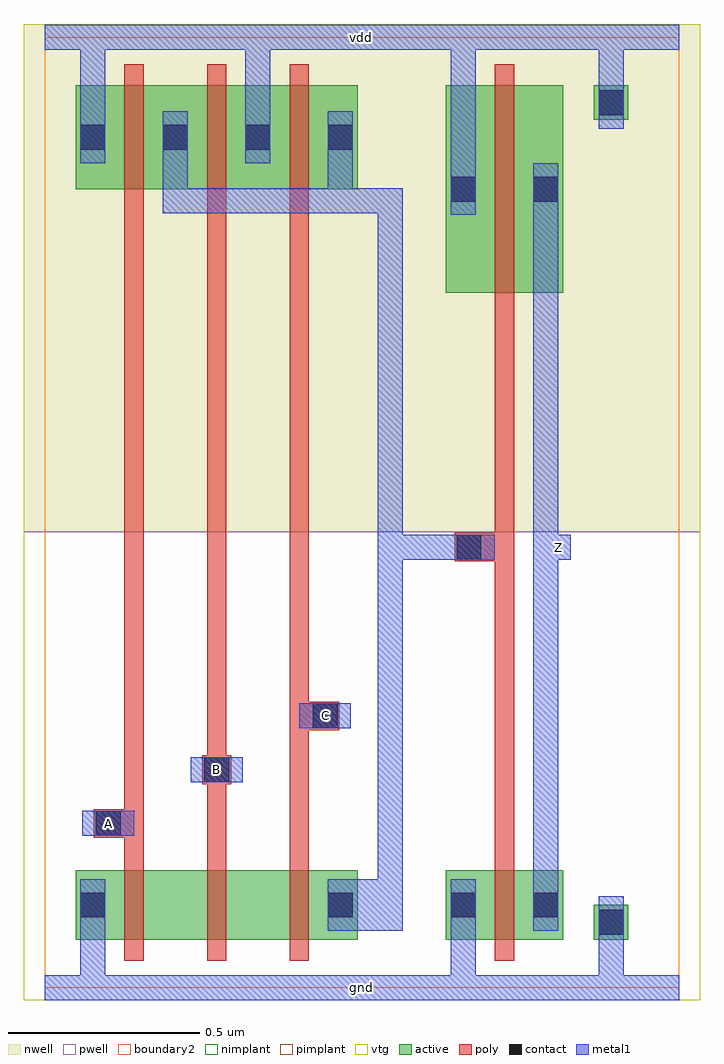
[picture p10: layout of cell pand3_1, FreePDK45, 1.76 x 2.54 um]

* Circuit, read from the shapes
.subckt pand3_1 A B C Z gnd vdd
M1 pnand3_0_0/nmos_m1_w0_180_sm1_dactive_3/D A gnd gnd nfet w=0.18u l=0.05u
M2 pnand3_0_0/nmos_m1_w0_180_sactive_dactive_4/D B pnand3_0_0/nmos_m1_w0_180_sm1_dactive_3/D gnd nfet w=0.18u l=0.05u
M3 pdriver_4_1/A C pnand3_0_0/nmos_m1_w0_180_sactive_dactive_4/D gnd nfet w=0.18u l=0.05u
M4 Z pdriver_4_1/A gnd gnd nfet w=0.18u l=0.05u
M5 pdriver_4_1/A A vdd vdd pfet w=0.27u l=0.05u
M6 vdd B pdriver_4_1/A vdd pfet w=0.27u l=0.05u
M7 pdriver_4_1/A C vdd vdd pfet w=0.27u l=0.05u
M8 Z pdriver_4_1/A vdd vdd pfet w=0.54u l=0.05u
.ends

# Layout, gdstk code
import gdstk
lib = gdstk.Library(unit=1e-6, precision=5e-10)
def R(c, l, rs):  # rectangles x0, y0, x1, y1
    for r in rs: c.add(gdstk.rectangle(r[:2], r[2:], *l))
def A(c, l, x, y, w, h, nx, ny, dx, dy):  # array of equal rectangles
    R(c, l, [(x+i*dx, y+j*dy, x+i*dx+w, y+j*dy+h) for i in range(nx) for j in range(ny)])
active = (1, 0)
pwell = (2, 0)
nwell = (3, 0)
nimplant = (4, 0)
pimplant = (5, 0)
vtg = (6, 0)
poly = (9, 0)
contact = (10, 0)
metal1 = (11, 0)
boundary2 = (239, 0)

contact_9 = lib.new_cell('contact_9')
R(contact_9, active, [(0,0.0225,0.09,0.1125)])
R(contact_9, nwell, [(-0.055,-0.0325,0.145,0.1675)])
R(contact_9, pimplant, [(0,0.0225,0.09,0.1125)])
R(contact_9, contact, [(0.0125,0.035,0.0775,0.1)])
R(contact_9, metal1, [(0.0125,0,0.0775,0.135)])
R(contact_9, boundary2, [(-0.055,-0.0325,0.145,0.1675)])

pmos_m1_w0_270_sm1_dm1 = lib.new_cell('pmos_m1_w0_270_sm1_dm1')
R(pmos_m1_w0_270_sm1_dm1, active, [(0,0,0.305,0.27)])
R(pmos_m1_w0_270_sm1_dm1, nwell, [(-0.08,-0.08,0.385,0.35)])
R(pmos_m1_w0_270_sm1_dm1, pimplant, [(0,0,0.305,0.27)])
R(pmos_m1_w0_270_sm1_dm1, vtg, [(-0.08,-0.08,0.385,0.35)])
R(pmos_m1_w0_270_sm1_dm1, poly, [(0.1275,-0.055,0.1775,0.325), (0.1275,-0.055,0.1775,0.325)])
R(pmos_m1_w0_270_sm1_dm1, metal1, [(0.0125,0.0675,0.0775,0.2025), (0.2275,0.0675,0.2925,0.2025)])
R(pmos_m1_w0_270_sm1_dm1, boundary2, [(-0.08,-0.08,0.385,0.35)])
pmos_m1_w0_270_sm1_dm1.add(gdstk.Reference(contact_9, (0,0.0675)))
pmos_m1_w0_270_sm1_dm1.add(gdstk.Reference(contact_9, (0.215,0.0675)))
pmos_m1_w0_270_sm1_dm1.add(gdstk.Label('G', (0.1525,0.135), layer=9, texttype=0))
pmos_m1_w0_270_sm1_dm1.add(gdstk.Label('S', (0.045,0.135), layer=11, texttype=0))
pmos_m1_w0_270_sm1_dm1.add(gdstk.Label('D', (0.26,0.135), layer=11, texttype=0))

contact_14 = lib.new_cell('contact_14')
R(contact_14, active, [(0,0.0225,0.09,0.1125)])
R(contact_14, pwell, [(-0.055,-0.0325,0.145,0.1675)])
R(contact_14, nimplant, [(0,0.0225,0.09,0.1125)])
R(contact_14, contact, [(0.0125,0.035,0.0775,0.1)])
R(contact_14, metal1, [(0.0125,0,0.0775,0.135)])
R(contact_14, boundary2, [(-0.055,-0.0325,0.145,0.1675)])

nmos_m1_w0_180_sm1_dacti = lib.new_cell('nmos_m1_w0_180_sm1_dactive')
R(nmos_m1_w0_180_sm1_dacti, active, [(0,0,0.305,0.18), (0.215,0.045,0.305,0.135)])
R(nmos_m1_w0_180_sm1_dacti, pwell, [(-0.08,-0.08,0.385,0.26)])
R(nmos_m1_w0_180_sm1_dacti, nimplant, [(0,0,0.305,0.18)])
R(nmos_m1_w0_180_sm1_dacti, vtg, [(-0.08,-0.08,0.385,0.26)])
R(nmos_m1_w0_180_sm1_dacti, poly, [(0.1275,-0.055,0.1775,0.235), (0.1275,-0.055,0.1775,0.235)])
R(nmos_m1_w0_180_sm1_dacti, metal1, [(0.0125,0.0225,0.0775,0.1575)])
R(nmos_m1_w0_180_sm1_dacti, boundary2, [(-0.08,-0.08,0.385,0.26)])
nmos_m1_w0_180_sm1_dacti.add(gdstk.Reference(contact_14, (0,0.0225)))
nmos_m1_w0_180_sm1_dacti.add(gdstk.Label('G', (0.1525,0.09), layer=9, texttype=0))
nmos_m1_w0_180_sm1_dacti.add(gdstk.Label('S', (0.045,0.09), layer=11, texttype=0))
nmos_m1_w0_180_sm1_dacti.add(gdstk.Label('D', (0.26,0.09), layer=1, texttype=0))

nmos_m1_w0_180_sactive_d = lib.new_cell('nmos_m1_w0_180_sactive_dactive')
R(nmos_m1_w0_180_sactive_d, active, [(0,0,0.305,0.18), (0,0.045,0.09,0.135), (0.215,0.045,0.305,0.135)])
R(nmos_m1_w0_180_sactive_d, pwell, [(-0.08,-0.08,0.385,0.26)])
R(nmos_m1_w0_180_sactive_d, nimplant, [(0,0,0.305,0.18)])
R(nmos_m1_w0_180_sactive_d, vtg, [(-0.08,-0.08,0.385,0.26)])
R(nmos_m1_w0_180_sactive_d, poly, [(0.1275,-0.055,0.1775,0.235), (0.1275,-0.055,0.1775,0.235)])
R(nmos_m1_w0_180_sactive_d, boundary2, [(-0.08,-0.08,0.385,0.26)])
nmos_m1_w0_180_sactive_d.add(gdstk.Label('G', (0.1525,0.09), layer=9, texttype=0))
nmos_m1_w0_180_sactive_d.add(gdstk.Label('S', (0.045,0.09), layer=1, texttype=0))
nmos_m1_w0_180_sactive_d.add(gdstk.Label('D', (0.26,0.09), layer=1, texttype=0))

c_nmos_m1_w0_180_sactive_d = lib.new_cell('nmos_m1_w0_180_sactive_dm1')
R(c_nmos_m1_w0_180_sactive_d, active, [(0,0,0.305,0.18), (0,0.045,0.09,0.135)])
R(c_nmos_m1_w0_180_sactive_d, pwell, [(-0.08,-0.08,0.385,0.26)])
R(c_nmos_m1_w0_180_sactive_d, nimplant, [(0,0,0.305,0.18)])
R(c_nmos_m1_w0_180_sactive_d, vtg, [(-0.08,-0.08,0.385,0.26)])
R(c_nmos_m1_w0_180_sactive_d, poly, [(0.1275,-0.055,0.1775,0.235), (0.1275,-0.055,0.1775,0.235)])
R(c_nmos_m1_w0_180_sactive_d, metal1, [(0.2275,0.0225,0.2925,0.1575)])
R(c_nmos_m1_w0_180_sactive_d, boundary2, [(-0.08,-0.08,0.385,0.26)])
c_nmos_m1_w0_180_sactive_d.add(gdstk.Reference(contact_14, (0.215,0.0225)))
c_nmos_m1_w0_180_sactive_d.add(gdstk.Label('G', (0.1525,0.09), layer=9, texttype=0))
c_nmos_m1_w0_180_sactive_d.add(gdstk.Label('S', (0.045,0.09), layer=1, texttype=0))
c_nmos_m1_w0_180_sactive_d.add(gdstk.Label('D', (0.26,0.09), layer=11, texttype=0))

contact_10 = lib.new_cell('contact_10')
R(contact_10, poly, [(0.03,0,0.105,0.075)])
R(contact_10, contact, [(0.035,0.005,0.1,0.07)])
R(contact_10, metal1, [(0,0.005,0.135,0.07)])
R(contact_10, boundary2, [(0,0,0.135,0.075)])

pnand3_0 = lib.new_cell('pnand3_0')
R(pnand3_0, pwell, [(-0.055,-0.0325,1.02,1.1875)])
R(pnand3_0, nwell, [(-0.055,1.1875,1.02,2.51)])
R(pnand3_0, vtg, [(-0.055,-0.0325,1.02,1.1875), (-0.055,1.1875,1.02,2.51)])
A(pnand3_0, poly, 0.2075, 0.36, 0.05, 1.665, 3, 1, 0.215, 0)
R(pnand3_0, poly, [(0.165,0.39,0.2075,0.465), (0.4225,0.53,0.4475,0.605), (0.6375,0.67,0.73,0.745)])
R(pnand3_0, metal1, [(0,-0.0325,0.965,0.0325), (0.0925,-0.0325,0.1575,0.1475), (0.77,0.1475,0.9,0.2825), (0.8675,0.1475,0.9325,2.05), (0.0975,0.395,0.2325,0.46), (0.38,0.535,0.515,0.6), (0.6625,0.675,0.7975,0.74), (0.3075,2.0175,0.3725,2.0825), (0.34,2.0175,0.9,2.0825), (0.7375,2.0175,0.8025,2.0825), (0.77,2.0175,0.9,2.0825), (0.8675,2.0175,0.9325,2.0825), (0.3075,2.05,0.3725,2.215), (0.7375,2.05,0.8025,2.215), (0.0925,2.1475,0.1575,2.5075), (0.5225,2.1475,0.5875,2.5075), (0,2.4425,0.965,2.5075)])
R(pnand3_0, boundary2, [(0,0,0.965,2.475), (0,0,0.965,2.475)])
pnand3_0.add(gdstk.Reference(pmos_m1_w0_270_sm1_dm1, (0.08,2.08)))
pnand3_0.add(gdstk.Reference(pmos_m1_w0_270_sm1_dm1, (0.295,2.08)))
pnand3_0.add(gdstk.Reference(pmos_m1_w0_270_sm1_dm1, (0.51,2.08)))
pnand3_0.add(gdstk.Reference(nmos_m1_w0_180_sm1_dacti, (0.08,0.125)))
pnand3_0.add(gdstk.Reference(nmos_m1_w0_180_sactive_d, (0.295,0.125)))
pnand3_0.add(gdstk.Reference(c_nmos_m1_w0_180_sactive_d, (0.51,0.125)))
pnand3_0.add(gdstk.Reference(contact_10, (0.0975,0.39)))
pnand3_0.add(gdstk.Reference(contact_10, (0.38,0.53)))
pnand3_0.add(gdstk.Reference(contact_10, (0.6625,0.67)))
pnand3_0.add(gdstk.Label('A', (0.165,0.4275), layer=11, texttype=0))
pnand3_0.add(gdstk.Label('B', (0.4475,0.5675), layer=11, texttype=0))
pnand3_0.add(gdstk.Label('C', (0.73,0.7075), layer=11, texttype=0))
pnand3_0.add(gdstk.Label('Z', (0.9,2.05), layer=11, texttype=0))
pnand3_0.add(gdstk.Label('gnd', (0.4825,0), layer=11, texttype=0))
pnand3_0.add(gdstk.Label('vdd', (0.4825,2.475), layer=11, texttype=0))

pmos_m1_w0_540_sm1_dm1_d = lib.new_cell('pmos_m1_w0_540_sm1_dm1_da_p')
R(pmos_m1_w0_540_sm1_dm1_d, active, [(0,0,0.305,0.54)])
R(pmos_m1_w0_540_sm1_dm1_d, nwell, [(-0.08,-0.08,0.385,0.62)])
R(pmos_m1_w0_540_sm1_dm1_d, pimplant, [(0,0,0.305,0.54)])
R(pmos_m1_w0_540_sm1_dm1_d, vtg, [(-0.08,-0.08,0.385,0.62)])
R(pmos_m1_w0_540_sm1_dm1_d, poly, [(0.1275,-0.055,0.1775,0.595), (0.1275,-0.055,0.1775,0.595)])
R(pmos_m1_w0_540_sm1_dm1_d, metal1, [(0.0125,0.2025,0.0775,0.3375), (0.2275,0.2025,0.2925,0.3375)])
R(pmos_m1_w0_540_sm1_dm1_d, boundary2, [(-0.08,-0.08,0.385,0.62)])
pmos_m1_w0_540_sm1_dm1_d.add(gdstk.Reference(contact_9, (0,0.2025)))
pmos_m1_w0_540_sm1_dm1_d.add(gdstk.Reference(contact_9, (0.215,0.2025)))
pmos_m1_w0_540_sm1_dm1_d.add(gdstk.Label('G', (0.1525,0.27), layer=9, texttype=0))
pmos_m1_w0_540_sm1_dm1_d.add(gdstk.Label('S', (0.045,0.27), layer=11, texttype=0))
pmos_m1_w0_540_sm1_dm1_d.add(gdstk.Label('D', (0.26,0.27), layer=11, texttype=0))

nmos_m1_w0_180_sm1_dm1_d = lib.new_cell('nmos_m1_w0_180_sm1_dm1_da_p')
R(nmos_m1_w0_180_sm1_dm1_d, active, [(0,0,0.305,0.18)])
R(nmos_m1_w0_180_sm1_dm1_d, pwell, [(-0.08,-0.08,0.385,0.26)])
R(nmos_m1_w0_180_sm1_dm1_d, nimplant, [(0,0,0.305,0.18)])
R(nmos_m1_w0_180_sm1_dm1_d, vtg, [(-0.08,-0.08,0.385,0.26)])
R(nmos_m1_w0_180_sm1_dm1_d, poly, [(0.1275,-0.055,0.1775,0.235), (0.1275,-0.055,0.1775,0.235)])
R(nmos_m1_w0_180_sm1_dm1_d, metal1, [(0.0125,0.0225,0.0775,0.1575), (0.2275,0.0225,0.2925,0.1575)])
R(nmos_m1_w0_180_sm1_dm1_d, boundary2, [(-0.08,-0.08,0.385,0.26)])
nmos_m1_w0_180_sm1_dm1_d.add(gdstk.Reference(contact_14, (0,0.0225)))
nmos_m1_w0_180_sm1_dm1_d.add(gdstk.Reference(contact_14, (0.215,0.0225)))
nmos_m1_w0_180_sm1_dm1_d.add(gdstk.Label('G', (0.1525,0.09), layer=9, texttype=0))
nmos_m1_w0_180_sm1_dm1_d.add(gdstk.Label('S', (0.045,0.09), layer=11, texttype=0))
nmos_m1_w0_180_sm1_dm1_d.add(gdstk.Label('D', (0.26,0.09), layer=11, texttype=0))

contact_18 = lib.new_cell('contact_18')
R(contact_18, active, [(0,0.0225,0.09,0.1125)])
R(contact_18, nwell, [(-0.055,-0.0325,0.145,0.1675)])
R(contact_18, nimplant, [(0,0.0225,0.09,0.1125)])
R(contact_18, contact, [(0.0125,0.035,0.0775,0.1)])
R(contact_18, metal1, [(0.0125,0,0.0775,0.135)])
R(contact_18, boundary2, [(-0.055,-0.0325,0.145,0.1675)])

contact_19 = lib.new_cell('contact_19')
R(contact_19, active, [(0,0.0225,0.09,0.1125)])
R(contact_19, pwell, [(-0.055,-0.0325,0.145,0.1675)])
R(contact_19, pimplant, [(0,0.0225,0.09,0.1125)])
R(contact_19, contact, [(0.0125,0.035,0.0775,0.1)])
R(contact_19, metal1, [(0.0125,0,0.0775,0.135)])
R(contact_19, boundary2, [(-0.055,-0.0325,0.145,0.1675)])

pinv_14 = lib.new_cell('pinv_14')
R(pinv_14, pwell, [(-0.055,-0.0325,0.7425,1.1875)])
R(pinv_14, nwell, [(-0.055,1.1875,0.7425,2.51)])
R(pinv_14, vtg, [(-0.055,-0.0325,0.7425,1.1875), (-0.055,1.1875,0.7425,2.51)])
R(pinv_14, poly, [(0.2075,0.36,0.2575,1.755), (0.14,1.11,0.2075,1.185)])
R(pinv_14, metal1, [(0,-0.0325,0.6875,0.0325), (0.0925,-0.0325,0.1575,0.1475), (0.4775,0,0.5425,0.17), (0.3075,0.1475,0.3725,2.1475), (0.0725,1.115,0.2075,1.18), (0.34,1.115,0.405,1.18), (0.0925,2.0125,0.1575,2.5075), (0.4775,2.305,0.5425,2.475), (0,2.4425,0.6875,2.5075)])
R(pinv_14, boundary2, [(0,0,0.6875,2.475), (0,0,0.6875,2.475)])
pinv_14.add(gdstk.Reference(pmos_m1_w0_540_sm1_dm1_d, (0.08,1.81)))
pinv_14.add(gdstk.Reference(nmos_m1_w0_180_sm1_dm1_d, (0.08,0.125)))
pinv_14.add(gdstk.Reference(contact_18, (0.465,2.2375)))
pinv_14.add(gdstk.Reference(contact_19, (0.465,0.1025)))
pinv_14.add(gdstk.Reference(contact_10, (0.0725,1.11)))
pinv_14.add(gdstk.Label('A', (0.14,1.1475), layer=11, texttype=0))
pinv_14.add(gdstk.Label('Z', (0.3725,1.1475), layer=11, texttype=0))
pinv_14.add(gdstk.Label('gnd', (0.344,0), layer=11, texttype=0))
pinv_14.add(gdstk.Label('vdd', (0.344,2.475), layer=11, texttype=0))

pdriver_4 = lib.new_cell('pdriver_4')
R(pdriver_4, pwell, [(-0.055,-0.0325,0.7425,1.1875)])
R(pdriver_4, nwell, [(-0.055,1.1875,0.7425,2.51)])
R(pdriver_4, vtg, [(-0.055,-0.0325,0.7425,1.1875), (-0.055,1.1875,0.7425,2.51)])
R(pdriver_4, metal1, [(0,-0.0325,0.6875,0.0325), (0.0725,1.115,0.2075,1.18), (0.34,1.115,0.405,1.18), (0,2.4425,0.6875,2.5075)])
R(pdriver_4, boundary2, [(0,0,0.6875,2.475), (0,0,0.6875,2.475)])
pdriver_4.add(gdstk.Reference(pinv_14, (0,0)))
pdriver_4.add(gdstk.Label('Z', (0.3725,1.1475), layer=11, texttype=0))
pdriver_4.add(gdstk.Label('A', (0.14,1.1475), layer=11, texttype=0))
pdriver_4.add(gdstk.Label('gnd', (0.344,0), layer=11, texttype=0))
pdriver_4.add(gdstk.Label('vdd', (0.344,2.475), layer=11, texttype=0))

pand3_1 = lib.new_cell('pand3_1')
R(pand3_1, metal1, [(0,-0.0325,1.6525,0.0325), (0.0975,0.395,0.2325,0.46), (0.38,0.535,0.515,0.6), (0.6625,0.675,0.7975,0.74), (0.8675,1.115,0.9325,1.18), (0.9,1.115,1.105,1.18), (1.305,1.115,1.37,1.18), (0.8675,1.1475,0.9325,2.05), (0,2.4425,1.6525,2.5075)])
R(pand3_1, boundary2, [(0,0,1.6525,2.475), (0,0,1.6525,2.475)])
pand3_1.add(gdstk.Reference(pnand3_0, (0,0)))
pand3_1.add(gdstk.Reference(pdriver_4, (0.965,0)))
pand3_1.add(gdstk.Label('Z', (1.3375,1.1475), layer=11, texttype=0))
pand3_1.add(gdstk.Label('A', (0.165,0.4275), layer=11, texttype=0))
pand3_1.add(gdstk.Label('B', (0.4475,0.5675), layer=11, texttype=0))
pand3_1.add(gdstk.Label('C', (0.73,0.7075), layer=11, texttype=0))
pand3_1.add(gdstk.Label('gnd', (0.826,0), layer=11, texttype=0))
pand3_1.add(gdstk.Label('vdd', (0.826,2.475), layer=11, texttype=0))

lib.write_gds('pand3_1.gds')
